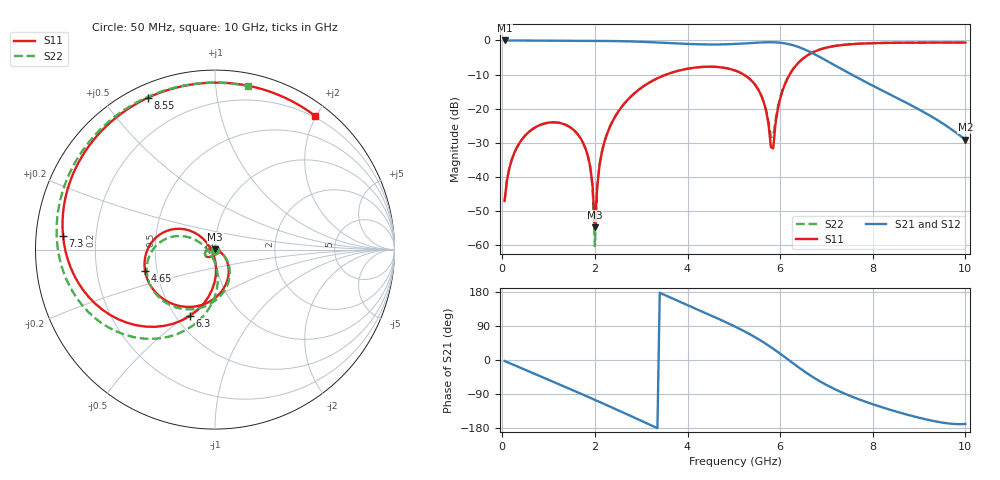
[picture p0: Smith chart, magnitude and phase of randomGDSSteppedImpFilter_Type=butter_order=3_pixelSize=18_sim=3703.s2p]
! freq	dB(S11)	phase(S11)	dB(S12)	phase(S12)
!  dB(S21)	phase(S21)	dB(S22)	phase(S22)
!S-par simulation data
#  GHz  S  DB  R 50
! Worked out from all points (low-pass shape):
!   200 points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, 50 MHz to 10 GHz, reference 50 ohm
!   highest |S21| = -0.01 dB at 50 MHz (marker M1); lowest = -29.1 dB at 10 GHz (marker M2)
!   |S21| within 3 dB of the highest: start of sweep to 6.588 GHz
!   lowest |S11| = -54.8 dB at 2 GHz (marker M3), VSWR 1.00, Z = 50 + j0.18 ohm
!   |S11| at or under -10 dB: start of sweep to 3.544 GHz; 5.211 GHz to 6.207 GHz (995.5 MHz wide, 17.4 % of centre)
!   |S22| runs from -60.4 to -0.6 dB; largest |S21 - S12| = 0
!   S11 on the Smith chart (normalised r, x): 50 MHz: 1.00, -0.01; 4.65 GHz: 0.43, -0.12; 6.3 GHz: 0.59, -0.51; 7.3 GHz: 0.08, +0.05; 8.55 GHz: 0.06, +0.65; 10 GHz: 0.18, +1.99
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0.05  -47.10 -86.9  -0.01 -2.7  -0.01 -2.7  -47.11 -86.8
0.25  -33.32 -102.5  -0.02 -13.2  -0.02 -13.2  -33.32 -102.1
0.65  -26.06 -124.8  -0.06 -34.0  -0.06 -34.0  -26.06 -123.7
1.3  -24.43 -159.8  -0.09 -68.0  -0.09 -68.0  -24.44 -157.2
1.75  -30.19 174.7  -0.12 -91.8  -0.12 -91.8  -30.25 179.7
1.95  -42.58 154.4  -0.13 -102.5  -0.13 -102.5  -43.15 171.1
2  -54.81 82.0  -0.13 -105.2  -0.13 -105.2  -60.38 -93.0
2.05  -42.87 -6.1  -0.14 -107.9  -0.14 -107.9  -42.60 -19.3
2.1  -36.58 -15.6  -0.14 -110.6  -0.14 -110.6  -36.37 -20.7
2.3  -26.13 -31.0  -0.17 -121.6  -0.17 -121.6  -26.03 -30.8
3.4  -10.80 -95.2  -0.64 177.4  -0.64 177.4  -10.78 -91.0
4.65  -7.81 -163.2  -1.19 109.7  -1.19 109.7  -7.79 -155.9
5.05  -8.94 174.0  -1.02 86.8  -1.02 86.8  -8.93 -177.2
5.55  -14.98 143.3  -0.61 53.6  -0.61 53.6  -14.92 156.0
5.85  -31.68 -114.3  -0.53 29.8  -0.53 29.8  -28.25 -118.2
6  -17.09 -88.0  -0.67 16.7  -0.67 16.7  -16.83 -84.0
6.3  -8.08 -110.7  -1.49 -10.5  -1.49 -10.5  -8.01 -102.0
6.7  -3.54 -144.4  -3.74 -44.5  -3.74 -44.5  -3.50 -133.2
7.3  -1.41 174.8  -8.20 -83.8  -8.20 -83.8  -1.39 -171.3
8.35  -0.71 122.5  -15.69 -130.4  -15.69 -130.4  -0.70 141.2
8.55  -0.68 113.7  -17.07 -137.7  -17.07 -137.7  -0.67 133.3
10  -0.62 53.1  -29.12 -168.7  -29.12 -168.7  -0.64 78.6
